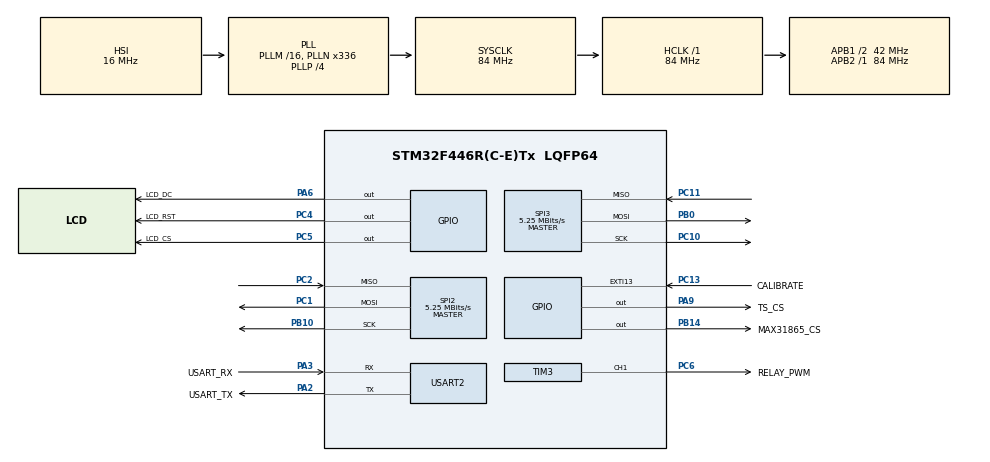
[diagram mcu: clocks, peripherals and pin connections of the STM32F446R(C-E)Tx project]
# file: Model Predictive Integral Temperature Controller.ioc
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Dma.Request0=USART2_RX
Dma.USART2_RX.0.Direction=DMA_PERIPH_TO_MEMORY
Dma.USART2_RX.0.FIFOMode=DMA_FIFOMODE_DISABLE
Dma.USART2_RX.0.Instance=DMA1_Stream5
Dma.USART2_RX.0.MemDataAlignment=DMA_MDATAALIGN_BYTE
Dma.USART2_RX.0.MemInc=DMA_MINC_ENABLE
Dma.USART2_RX.0.Mode=DMA_CIRCULAR
Dma.USART2_RX.0.PeriphDataAlignment=DMA_PDATAALIGN_BYTE
Dma.USART2_RX.0.PeriphInc=DMA_PINC_DISABLE
Dma.USART2_RX.0.Priority=DMA_PRIORITY_LOW
FREERTOS.Tasks01=LCD,40,500,LCD_TASK,Default,NULL,Dynamic,NULL,NULL;CONTROL,41,3200,CONTROL_TASK,Default,NULL,Dynamic,NULL,NULL
Mcu.Family=STM32F4
Mcu.Name=STM32F446R(C-E)Tx
Mcu.Package=LQFP64
NVIC.DMA1_Stream5_IRQn=true\:5\:0\:false\:false\:true\:true\:false\:true
NVIC.PriorityGroup=NVIC_PRIORITYGROUP_4
NVIC.TIM2_IRQn=true\:0\:0\:false\:false\:true\:false\:false\:true
NVIC.TimeBase=TIM2_IRQn
NVIC.TimeBaseIP=TIM2
PA13.GPIO_Label=TMS
PA13.Mode=Serial_Wire
PA13.Signal=SYS_JTMS-SWDIO
PA14.GPIO_Label=TCK
PA14.Mode=Serial_Wire
PA14.Signal=SYS_JTCK-SWCLK
PA2.GPIO_Label=USART_TX
PA2.Mode=Asynchronous
PA2.Signal=USART2_TX
PA3.GPIO_Label=USART_RX
PA3.Mode=Asynchronous
PA3.Signal=USART2_RX
PA6.GPIO_Label=LCD_DC
PA6.Signal=GPIO_Output
PA9.GPIO_Label=TS_CS
PA9.Signal=GPIO_Output
PB0.Mode=Full_Duplex_Master
PB0.Signal=SPI3_MOSI
PB10.Mode=Full_Duplex_Master
PB10.Signal=SPI2_SCK
PB14.GPIO_Label=MAX31865_CS
PB14.Signal=GPIO_Output
PB3.GPIO_Label=SWO
PB3.Signal=SYS_JTDO-SWO
PC1.Mode=Full_Duplex_Master
PC1.Signal=SPI2_MOSI
PC10.Mode=Full_Duplex_Master
PC10.Signal=SPI3_SCK
PC11.Mode=Full_Duplex_Master
PC11.Signal=SPI3_MISO
PC13.GPIO_Label=CALIBRATE
PC13.GPIO_ModeDefaultEXTI=GPIO_MODE_IT_FALLING
PC13.Signal=GPXTI13
PC14-OSC32_IN.Mode=LSE-External-Oscillator
PC14-OSC32_IN.Signal=RCC_OSC32_IN
PC15-OSC32_OUT.Mode=LSE-External-Oscillator
PC15-OSC32_OUT.Signal=RCC_OSC32_OUT
PC2.Mode=Full_Duplex_Master
PC2.Signal=SPI2_MISO
PC4.GPIO_Label=LCD_RST
PC4.Signal=GPIO_Output
PC5.GPIO_Label=LCD_CS
PC5.Signal=GPIO_Output
PC6.GPIO_Label=RELAY_PWM
PC6.Signal=S_TIM3_CH1
PH0-OSC_IN.Mode=HSE-External-Oscillator
PH0-OSC_IN.Signal=RCC_OSC_IN
PH1-OSC_OUT.Mode=HSE-External-Oscillator
PH1-OSC_OUT.Signal=RCC_OSC_OUT
ProjectManager.HeapSize=0x200
ProjectManager.StackSize=0x400
ProjectManager.TargetToolchain=STM32CubeIDE
RCC.48MHZClocksFreq_Value=84000000
RCC.AHBFreq_Value=84000000
RCC.APB1CLKDivider=RCC_HCLK_DIV2
RCC.APB1Freq_Value=42000000
RCC.APB1TimFreq_Value=84000000
RCC.APB2Freq_Value=84000000
RCC.APB2TimFreq_Value=84000000
RCC.CortexFreq_Value=84000000
RCC.FLatency-AdvancedSettings=FLASH_LATENCY_2
RCC.HCLKFreq_Value=84000000
RCC.HSE_VALUE=8000000
RCC.HSI_VALUE=16000000
RCC.PLLN=336
RCC.PLLP=RCC_PLLP_DIV4
RCC.SYSCLKFreq_VALUE=84000000
RCC.SYSCLKSource=RCC_SYSCLKSOURCE_PLLCLK
RCC.USBFreq_Value=168000000
RCC.VCOOutputFreq_Value=336000000
SH.S_TIM3_CH1.0=TIM3_CH1,PWM Generation1 CH1
SPI2.BaudRatePrescaler=SPI_BAUDRATEPRESCALER_8
SPI2.CalculateBaudRate=5.25 MBits/s
SPI2.Direction=SPI_DIRECTION_2LINES
SPI2.Mode=SPI_MODE_MASTER
SPI2.VirtualType=VM_MASTER
SPI3.BaudRatePrescaler=SPI_BAUDRATEPRESCALER_8
SPI3.CLKPhase=SPI_PHASE_2EDGE
SPI3.CLKPolarity=SPI_POLARITY_HIGH
SPI3.CalculateBaudRate=5.25 MBits/s
SPI3.Direction=SPI_DIRECTION_2LINES
SPI3.Mode=SPI_MODE_MASTER
SPI3.VirtualType=VM_MASTER
TIM3.Channel-PWM\ Generation1\ CH1=TIM_CHANNEL_1
TIM3.OC1Preload_PWM=DISABLE
TIM3.Period=20000
TIM3.Prescaler=42000
USART2.VirtualMode=VM_ASYNC
VP_FREERTOS_VS_CMSIS_V2.Mode=CMSIS_V2
VP_SYS_VS_tim2.Mode=TIM2
VP_TIM3_VS_ClockSourceINT.Mode=Internal
board=NUCLEO-F446RE

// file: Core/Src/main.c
/* USER CODE BEGIN Header */
/**
 ******************************************************************************
 * @file           : main.c
 * @brief          : Main program body
 ******************************************************************************
 * @attention
 *
 * <h2><center>&copy; Copyright (c) 2020 STMicroelectronics.
 * All rights reserved.</center></h2>
 *
 * This software component is licensed by ST under BSD 3-Clause license,
 * the "License"; You may not use this file except in compliance with the
 * License. You may obtain a copy of the License at:
 *                        opensource.org/licenses/BSD-3-Clause
 *
 ******************************************************************************
 */
/* USER CODE END Header */

#include "main.h"
#include "cmsis_os.h"

/* USER CODE BEGIN Includes */
#include "stdbool.h"
#include "LCD_ILI9341/LCDCore/LCD_ILI9341.h"
#include "LCD_ILI9341/LCDTools/LCDTools.h"
#include "CControl/Headers/Functions.h"
#include "MAX31865/MAX31865.h"
#include "FlashMemory/ReadWrite.h"
/* USER CODE END Includes */

/* USER CODE BEGIN PD */
#define NP 1
#define NZ NP
#define NZE NP
#define ADIM NP
#define ADIMi 2
#define YDIM NP
#define RDIM NP
#define SAMPLING_TIME 60
/* USER CODE END PD */

SPI_HandleTypeDef hspi2;
SPI_HandleTypeDef hspi3;

TIM_HandleTypeDef htim3;

UART_HandleTypeDef huart2;
DMA_HandleTypeDef hdma_usart2_rx;

/* Definitions for LCD */
osThreadId_t LCDHandle;
const osThreadAttr_t LCD_attributes = {
  .name = "LCD",
  .priority = (osPriority_t) osPriorityHigh,
  .stack_size = 500 * 4
};
/* Definitions for CONTROL */
osThreadId_t CONTROLHandle;
const osThreadAttr_t CONTROL_attributes = {
  .name = "CONTROL",
  .priority = (osPriority_t) osPriorityHigh1,
  .stack_size = 3200 * 4
};

void SystemClock_Config(void);
static void MX_GPIO_Init(void);
static void MX_DMA_Init(void);
static void MX_USART2_UART_Init(void);
static void MX_SPI2_Init(void);
static void MX_SPI3_Init(void);
static void MX_TIM3_Init(void);
void LCD_TASK(void *argument);
void CONTROL_TASK(void *argument);

/* USER CODE BEGIN PFP */
void create_state_space_model();
/* USER CODE END PFP */

/* USER CODE BEGIN 0 */

/* For the LCD */
bool closedloop_on = false; // Don't start with control mode

/* For the settings */
float setpoint = 0.0;
float horizon = 10;
float new_output_float = 0;
float new_input_float = 0;
float time_constant = 1;
ILI9341_SPI lcd_spi;
MAX31865_SPI temperature_spi;
uint8_t UART_RX_DATA[1];
Convert convert; // We borrow the convert Union from folder FlashMemory -> ReadWrite.h file
uint8_t UART_TX_DATA[8];

/* SISO Model - No integral action */
float A[ADIM * ADIM]; // System matrix
float B[ADIM * 1]; // Input matrix
float C[1 * ADIM]; // Output matrix

/* SISO Model - With integral action */
float Ai[ADIMi * ADIMi]; // System matrix
float Bi[ADIMi * 1]; // Input matrix
float Ci[1 * ADIMi]; // Output matrix

/* USER CODE END 0 */

int main(void)
{

  /* MCU Configuration--------------------------------------------------------*/

  /* Reset of all peripherals, Initializes the Flash interface and the Systick. */
  HAL_Init();

  /* Configure the system clock */
  SystemClock_Config();

  /* Initialize all configured peripherals */
  MX_GPIO_Init();
  MX_DMA_Init();
  MX_USART2_UART_Init();
  MX_SPI2_Init();
  MX_SPI3_Init();
  MX_TIM3_Init();
  /* USER CODE BEGIN 2 */

	// Start DMA for UART
	HAL_UART_Receive_DMA(&huart2, UART_RX_DATA, 1);

	// Set the address and sector for F446RE CPU where we are going to store the settings. Look at chapter 3.3 at document RM0390 for STM32F446XX processors
	FlashSetSectorAddrs(7, 0x08060000);

	// Init LCD
	ILI9341_Init(&lcd_spi, &hspi2, LCD_CS_GPIO_Port, LCD_CS_Pin, LCD_DC_GPIO_Port, LCD_DC_Pin, LCD_RST_GPIO_Port, LCD_RST_Pin, TS_CS_GPIO_Port, TS_CS_Pin);

	// Show welcome screen
	ILI9341_setRotation(&lcd_spi, 2);
	ILI9341_printImage(&lcd_spi, 0, 0, 320, 240, windows95_intro, 640 * 240 * sizeof(uint8_t));
	HAL_Delay(5000);

	// Load the user configurations
	float rdBuf[7];
	FlashReadN(0, rdBuf, 7, DATA_TYPE_FLOAT);
	lcd_spi.myTS_Calibrate.Scale_X = rdBuf[0];
	lcd_spi.myTS_Calibrate.Scale_Y = rdBuf[1];
	lcd_spi.myTS_Calibrate.Bias_X = rdBuf[2];
	lcd_spi.myTS_Calibrate.Bias_Y = rdBuf[3];
	setpoint = isnanf(rdBuf[4]) != 0 ? 0 : rdBuf[4];
	horizon = isnanf(rdBuf[5]) != 0 ? 10 : rdBuf[5];
	time_constant = isnanf(rdBuf[6]) != 0 ? 1 : rdBuf[6];

	// Create model
	create_state_space_model();

	// Calibrate the touch if blue Nucleo board button is pressed
	if (HAL_GPIO_ReadPin(CALIBRATE_GPIO_Port, CALIBRATE_Pin) == GPIO_PIN_RESET) {
		TSC2046_Calibrate(&lcd_spi);
	}

	// Create initial frame
	bool update_main_frame = true;
	show_main_frame(&lcd_spi, closedloop_on, update_main_frame);

	// Start PWM output for the SSR-relay
	HAL_TIM_PWM_Start(&htim3, TIM_CHANNEL_1);

	// Init temperature PT100 reader
	MAX31865_init(&temperature_spi, MAX31865_CS_GPIO_Port, MAX31865_CS_Pin, &hspi3, WIRE4);
  /* USER CODE END 2 */

  /* Init scheduler */
  osKernelInitialize();

  /* Create the thread(s) */
  /* creation of LCD */
  LCDHandle = osThreadNew(LCD_TASK, NULL, &LCD_attributes);

  /* creation of CONTROL */
  CONTROLHandle = osThreadNew(CONTROL_TASK, NULL, &CONTROL_attributes);

  /* Start scheduler */
  osKernelStart();

  /* We should never get here as control is now taken by the scheduler */
  /* Infinite loop */
	while (1) {

	}
}

void SystemClock_Config(void)
{
  RCC_OscInitTypeDef RCC_OscInitStruct = {0};
  RCC_ClkInitTypeDef RCC_ClkInitStruct = {0};

  /** Configure the main internal regulator output voltage
  */
  __HAL_RCC_PWR_CLK_ENABLE();
  __HAL_PWR_VOLTAGESCALING_CONFIG(PWR_REGULATOR_VOLTAGE_SCALE3);
  /** Initializes the CPU, AHB and APB busses clocks
  */
  RCC_OscInitStruct.OscillatorType = RCC_OSCILLATORTYPE_HSI;
  RCC_OscInitStruct.HSIState = RCC_HSI_ON;
  RCC_OscInitStruct.HSICalibrationValue = RCC_HSICALIBRATION_DEFAULT;
  RCC_OscInitStruct.PLL.PLLState = RCC_PLL_ON;
  RCC_OscInitStruct.PLL.PLLSource = RCC_PLLSOURCE_HSI;
  RCC_OscInitStruct.PLL.PLLM = 16;
  RCC_OscInitStruct.PLL.PLLN = 336;
  RCC_OscInitStruct.PLL.PLLP = RCC_PLLP_DIV4;
  RCC_OscInitStruct.PLL.PLLQ = 2;
  RCC_OscInitStruct.PLL.PLLR = 2;
  if (HAL_RCC_OscConfig(&RCC_OscInitStruct) != HAL_OK)
  {
    Error_Handler();
  }
  /** Initializes the CPU, AHB and APB busses clocks
  */
  RCC_ClkInitStruct.ClockType = RCC_CLOCKTYPE_HCLK|RCC_CLOCKTYPE_SYSCLK
                              |RCC_CLOCKTYPE_PCLK1|RCC_CLOCKTYPE_PCLK2;
  RCC_ClkInitStruct.SYSCLKSource = RCC_SYSCLKSOURCE_PLLCLK;
  RCC_ClkInitStruct.AHBCLKDivider = RCC_SYSCLK_DIV1;
  RCC_ClkInitStruct.APB1CLKDivider = RCC_HCLK_DIV2;
  RCC_ClkInitStruct.APB2CLKDivider = RCC_HCLK_DIV1;

  if (HAL_RCC_ClockConfig(&RCC_ClkInitStruct, FLASH_LATENCY_2) != HAL_OK)
  {
    Error_Handler();
  }
}

static void MX_SPI2_Init(void)
{

  /* SPI2 parameter configuration*/
  hspi2.Instance = SPI2;
  hspi2.Init.Mode = SPI_MODE_MASTER;
  hspi2.Init.Direction = SPI_DIRECTION_2LINES;
  hspi2.Init.DataSize = SPI_DATASIZE_8BIT;
  hspi2.Init.CLKPolarity = SPI_POLARITY_LOW;
  hspi2.Init.CLKPhase = SPI_PHASE_1EDGE;
  hspi2.Init.NSS = SPI_NSS_SOFT;
  hspi2.Init.BaudRatePrescaler = SPI_BAUDRATEPRESCALER_8;
  hspi2.Init.FirstBit = SPI_FIRSTBIT_MSB;
  hspi2.Init.TIMode = SPI_TIMODE_DISABLE;
  hspi2.Init.CRCCalculation = SPI_CRCCALCULATION_DISABLE;
  hspi2.Init.CRCPolynomial = 10;
  if (HAL_SPI_Init(&hspi2) != HAL_OK)
  {
    Error_Handler();
  }

}

static void MX_SPI3_Init(void)
{

  /* SPI3 parameter configuration*/
  hspi3.Instance = SPI3;
  hspi3.Init.Mode = SPI_MODE_MASTER;
  hspi3.Init.Direction = SPI_DIRECTION_2LINES;
  hspi3.Init.DataSize = SPI_DATASIZE_8BIT;
  hspi3.Init.CLKPolarity = SPI_POLARITY_HIGH;
  hspi3.Init.CLKPhase = SPI_PHASE_2EDGE;
  hspi3.Init.NSS = SPI_NSS_SOFT;
  hspi3.Init.BaudRatePrescaler = SPI_BAUDRATEPRESCALER_8;
  hspi3.Init.FirstBit = SPI_FIRSTBIT_MSB;
  hspi3.Init.TIMode = SPI_TIMODE_DISABLE;
  hspi3.Init.CRCCalculation = SPI_CRCCALCULATION_DISABLE;
  hspi3.Init.CRCPolynomial = 10;
  if (HAL_SPI_Init(&hspi3) != HAL_OK)
  {
    Error_Handler();
  }

}

static void MX_TIM3_Init(void)
{

  TIM_ClockConfigTypeDef sClockSourceConfig = {0};
  TIM_MasterConfigTypeDef sMasterConfig = {0};
  TIM_OC_InitTypeDef sConfigOC = {0};

  htim3.Instance = TIM3;
  htim3.Init.Prescaler = 42000;
  htim3.Init.CounterMode = TIM_COUNTERMODE_UP;
  htim3.Init.Period = 20000;
  htim3.Init.ClockDivision = TIM_CLOCKDIVISION_DIV1;
  htim3.Init.AutoReloadPreload = TIM_AUTORELOAD_PRELOAD_DISABLE;
  if (HAL_TIM_Base_Init(&htim3) != HAL_OK)
  {
    Error_Handler();
  }
  sClockSourceConfig.ClockSource = TIM_CLOCKSOURCE_INTERNAL;
  if (HAL_TIM_ConfigClockSource(&htim3, &sClockSourceConfig) != HAL_OK)
  {
    Error_Handler();
  }
  if (HAL_TIM_PWM_Init(&htim3) != HAL_OK)
  {
    Error_Handler();
  }
  sMasterConfig.MasterOutputTrigger = TIM_TRGO_RESET;
  sMasterConfig.MasterSlaveMode = TIM_MASTERSLAVEMODE_DISABLE;
  if (HAL_TIMEx_MasterConfigSynchronization(&htim3, &sMasterConfig) != HAL_OK)
  {
    Error_Handler();
  }
  sConfigOC.OCMode = TIM_OCMODE_PWM1;
  sConfigOC.Pulse = 0;
  sConfigOC.OCPolarity = TIM_OCPOLARITY_HIGH;
  sConfigOC.OCFastMode = TIM_OCFAST_DISABLE;
  if (HAL_TIM_PWM_ConfigChannel(&htim3, &sConfigOC, TIM_CHANNEL_1) != HAL_OK)
  {
    Error_Handler();
  }
  __HAL_TIM_DISABLE_OCxPRELOAD(&htim3, TIM_CHANNEL_1);
  HAL_TIM_MspPostInit(&htim3);

}

static void MX_USART2_UART_Init(void)
{

  huart2.Instance = USART2;
  huart2.Init.BaudRate = 115200;
  huart2.Init.WordLength = UART_WORDLENGTH_8B;
  huart2.Init.StopBits = UART_STOPBITS_1;
  huart2.Init.Parity = UART_PARITY_NONE;
  huart2.Init.Mode = UART_MODE_TX_RX;
  huart2.Init.HwFlowCtl = UART_HWCONTROL_NONE;
  huart2.Init.OverSampling = UART_OVERSAMPLING_16;
  if (HAL_UART_Init(&huart2) != HAL_OK)
  {
    Error_Handler();
  }

}

static void MX_DMA_Init(void)
{

  /* DMA controller clock enable */
  __HAL_RCC_DMA1_CLK_ENABLE();

  /* DMA interrupt init */
  /* DMA1_Stream5_IRQn interrupt configuration */
  HAL_NVIC_SetPriority(DMA1_Stream5_IRQn, 5, 0);
  HAL_NVIC_EnableIRQ(DMA1_Stream5_IRQn);

}

static void MX_GPIO_Init(void)
{
  GPIO_InitTypeDef GPIO_InitStruct = {0};

  /* GPIO Ports Clock Enable */
  __HAL_RCC_GPIOC_CLK_ENABLE();
  __HAL_RCC_GPIOH_CLK_ENABLE();
  __HAL_RCC_GPIOA_CLK_ENABLE();
  __HAL_RCC_GPIOB_CLK_ENABLE();

  /*Configure GPIO pin Output Level */
  HAL_GPIO_WritePin(GPIOA, LCD_DC_Pin|TS_CS_Pin, GPIO_PIN_RESET);

  /*Configure GPIO pin Output Level */
  HAL_GPIO_WritePin(GPIOC, LCD_RST_Pin|LCD_CS_Pin, GPIO_PIN_RESET);

  /*Configure GPIO pin Output Level */
  HAL_GPIO_WritePin(MAX31865_CS_GPIO_Port, MAX31865_CS_Pin, GPIO_PIN_RESET);

  /*Configure GPIO pin : CALIBRATE_Pin */
  GPIO_InitStruct.Pin = CALIBRATE_Pin;
  GPIO_InitStruct.Mode = GPIO_MODE_IT_FALLING;
  GPIO_InitStruct.Pull = GPIO_NOPULL;
  HAL_GPIO_Init(CALIBRATE_GPIO_Port, &GPIO_InitStruct);

  /*Configure GPIO pins : LCD_DC_Pin TS_CS_Pin */
  GPIO_InitStruct.Pin = LCD_DC_Pin|TS_CS_Pin;
  GPIO_InitStruct.Mode = GPIO_MODE_OUTPUT_PP;
  GPIO_InitStruct.Pull = GPIO_NOPULL;
  GPIO_InitStruct.Speed = GPIO_SPEED_FREQ_LOW;
  HAL_GPIO_Init(GPIOA, &GPIO_InitStruct);

  /*Configure GPIO pins : LCD_RST_Pin LCD_CS_Pin */
  GPIO_InitStruct.Pin = LCD_RST_Pin|LCD_CS_Pin;
  GPIO_InitStruct.Mode = GPIO_MODE_OUTPUT_PP;
  GPIO_InitStruct.Pull = GPIO_NOPULL;
  GPIO_InitStruct.Speed = GPIO_SPEED_FREQ_LOW;
  HAL_GPIO_Init(GPIOC, &GPIO_InitStruct);

  /*Configure GPIO pin : MAX31865_CS_Pin */
  GPIO_InitStruct.Pin = MAX31865_CS_Pin;
  GPIO_InitStruct.Mode = GPIO_MODE_OUTPUT_PP;
  GPIO_InitStruct.Pull = GPIO_NOPULL;
  GPIO_InitStruct.Speed = GPIO_SPEED_FREQ_LOW;
  HAL_GPIO_Init(MAX31865_CS_GPIO_Port, &GPIO_InitStruct);

}

/* USER CODE BEGIN 4 */
// When we get values from USB port, then read it directly
void HAL_UART_RxCpltCallback(UART_HandleTypeDef *huart) {
	/* Prevent unused argument(s) compilation warning */
	UNUSED(huart);
	/* NOTE: This function should not be modified, when the callback is needed,
	 the HAL_UART_RxCpltCallback could be implemented in the user file
	 */

	// When we get 0x23 = '#', then send back new_output_float and new_input_float
	if (UART_RX_DATA[0] == 0x23) {
		convert.float_value = new_input_float;
		UART_TX_DATA[0] = convert.uint8_values[0];
		UART_TX_DATA[1] = convert.uint8_values[1];
		UART_TX_DATA[2] = convert.uint8_values[2];
		UART_TX_DATA[3] = convert.uint8_values[3];
		convert.float_value = new_output_float;
		UART_TX_DATA[4] = convert.uint8_values[0];
		UART_TX_DATA[5] = convert.uint8_values[1];
		UART_TX_DATA[6] = convert.uint8_values[2];
		UART_TX_DATA[7] = convert.uint8_values[3];
		HAL_UART_Transmit(&huart2, UART_TX_DATA, 8, 10);
	}

}

float map(float x, float in_min, float in_max, float out_min, float out_max) {
	return (x - in_min) * (out_max - out_min) / (in_max - in_min) + out_min;
}

void create_state_space_model(){
	// Create first order white box model
	A[0] = -1/time_constant;
	B[0] = 1/time_constant;
	C[0] = 1;
	// Turn it do discrete with sampling time SAMPLING_TIME seconds
	c2d(A, B, 1, 1, SAMPLING_TIME);
	// Create state space model with integral action
	Ai[0] = A[0];
	Ai[1] = B[0];
	Ai[2] = 0;
	Ai[3] = 1;
	Bi[0] = 0;
	Bi[1] = 1;
	Ci[0] = C[0];
	Ci[1] = 0;

}
/* USER CODE END 4 */

void LCD_TASK(void *argument)
{
  /* USER CODE BEGIN 5 */
	/* Infinite loop */
	for (;;) {
		// Read the LCD touch
		TSC2046_GetTouchData(&lcd_spi);
		uint8_t isPressed = lcd_spi.myTsData.isPressed;
		uint16_t X = lcd_spi.myTsData.X;
		uint16_t Y = lcd_spi.myTsData.Y;
		if (isPressed == true) {
			// Check which button we are pressing on
			if (X >= 8 && X <= 37 && Y >= 8 && Y <= 37) {
				// Set point
				bool decimalbutton_show = true;
				bool minusbutton_show = false;
				show_num_pad_frame(&lcd_spi, decimalbutton_show, minusbutton_show, &setpoint, "Set setpoint <= 100");
				if (setpoint > 100)
					setpoint = 100;
				bool update_main_frame = true;
				show_main_frame(&lcd_spi, closedloop_on, update_main_frame);
			} else if (X >= 8 && X <= 37 && Y >= 55 && Y <= 94) {
				// Set horizon
				bool decimalbutton_show = false;
				bool minusbutton_show = false;
				show_num_pad_frame(&lcd_spi, decimalbutton_show, minusbutton_show, &horizon, "Set 0 < horizon <= 20");
				if(horizon == 0)
					horizon = 1;
				else if(horizon > 20)
					horizon = 20;
				bool update_main_frame = true;
				show_main_frame(&lcd_spi, closedloop_on, update_main_frame);
			} else if (X >= 8 && X <= 37 && Y >= 100 && Y <= 139) {
				// Set time constant
				bool decimalbutton_show = true;
				bool minusbutton_show = false;
				show_num_pad_frame(&lcd_spi, decimalbutton_show, minusbutton_show, &time_constant, "Set time constant >= 0.01");
				if(time_constant < 0.01)
					time_constant = 0.01;
				create_state_space_model();
				bool update_main_frame = true;
				show_main_frame(&lcd_spi, closedloop_on, update_main_frame);
			} else if (X >= 8 && X <= 37 && Y >= 146 && Y <= 185) {
				// Open loop or closed loop
				if (closedloop_on == true)
					closedloop_on = false;
				else
					closedloop_on = true;
				bool update_main_frame = false;
				osDelay(300); // Prevent double click
				show_main_frame(&lcd_spi, closedloop_on, update_main_frame);
			} else if (X >= 8 && X <= 37 && Y >= 193 && Y <= 232) {
				// Question dialog
				uint8_t choice = show_question_save_settings_dialog(&lcd_spi); // Return 1 as YES and 0 as NO
				if (choice == 1) {
					// Save the touch calibration and the user settings
					float wrBuf[7] = { lcd_spi.myTS_Calibrate.Scale_X, lcd_spi.myTS_Calibrate.Scale_Y, lcd_spi.myTS_Calibrate.Bias_X, lcd_spi.myTS_Calibrate.Bias_Y, setpoint, horizon, time_constant};
					FlashEraseSector(); // Must clear first
					FlashWriteN(0, wrBuf, 7, DATA_TYPE_FLOAT);
				}

				// Restore to normal again
				bool update_main_frame = true;
				show_main_frame(&lcd_spi, closedloop_on, update_main_frame);
			}
		} else {
			// Maximum plot can show is value 203
			uint16_t new_output_uint = map(new_output_float, 0, 100, 0, 203);
			uint16_t new_input_uint = map(new_input_float, 0, 100, 0, 203);
			bool only_move_array = false;
			bool clear_plot = false;
			show_plot_frame(&lcd_spi, new_input_float, new_output_float, new_input_uint, new_output_uint, only_move_array, clear_plot);
		}

		osDelay(1);
	}
  /* USER CODE END 5 */
}

void CONTROL_TASK(void *argument)
{
  /* USER CODE BEGIN CONTROL_TASK */
	/* Infinite loop */

	/* Vectors */
	float xi[ADIMi] = { 0, 0 }; // Initial state vector with integral action
	float u[1] = { 0 }; // Input vector
	float y[1] = { 0 }; // Output vector
	float r[1] = { 0 }; // Reference vector
	float delta = 0;
	float past = 0;

	for (;;) {
		// Perform control if...
		if (closedloop_on == true) {
			// Reference
			r[0] = setpoint;

			// Linear programming with MPC - Here we are using saturation due to non-ideal model
			if(r[0] > y[0]){
				mpc(Ai, Bi, Ci, xi, u, r, ADIMi, YDIM, RDIM, horizon, 200, true); // 200 in iteration limit, true = integral action in the model
			}else{
				u[0] = 0;
			}

			// Integral state update for the model
			delta = u[0] - past;
			past = u[0];
			xi[0] = Ai[0]*xi[0] + Ai[1]*xi[1] + Bi[0]*delta + (y[0] - Ci[0]*xi[0]);
			xi[1] = Ai[2]*xi[0] + Ai[3]*xi[1] + Bi[1]*delta;

			// We will get very jumpy signals, prevent it
			if(delta < 0){
				u[0] = -delta + u[0]; // past
			}

			// Saturation and apply the inputs
			if(u[0] >= 100){
				htim3.Instance->CCR1 = 200.0 * 100; // 20000 = 100% PWM
				new_input_float = 100; // This is for the plot
			}else if(u[0] <= 0){
				htim3.Instance->CCR1 = 200.0 * 0; // 20000 = 100% PWM
				new_input_float = 0; // This is for the plot
			}else{
				htim3.Instance->CCR1 = 200.0 * u[0]; // 20000 = 100% PWM
				new_input_float = u[0]; // This is for the plot
			}

		} else {
			// Perform open loop control
			htim3.Instance->CCR1 = 200.0 * setpoint; // 20000 = 100% PWM
			new_input_float = setpoint; // This is for the plot
		}
		// Read temperature
		y[0] = MAX31865_temperature(&temperature_spi);
		new_output_float = y[0]; // This is for the plot

		osDelay(1);
	}

  /* USER CODE END CONTROL_TASK */
}

 /**
  * @brief  Period elapsed callback in non blocking mode
  * @note   This function is called  when TIM2 interrupt took place, inside
  * HAL_TIM_IRQHandler(). It makes a direct call to HAL_IncTick() to increment
  * a global variable "uwTick" used as application time base.
  * @param  htim : TIM handle
  * @retval None
  */
void HAL_TIM_PeriodElapsedCallback(TIM_HandleTypeDef *htim)
{
  if (htim->Instance == TIM2) {
    HAL_IncTick();
  }
}

void Error_Handler(void)
{
}

/************************ (C) COPYRIGHT STMicroelectronics *****END OF FILE****/
